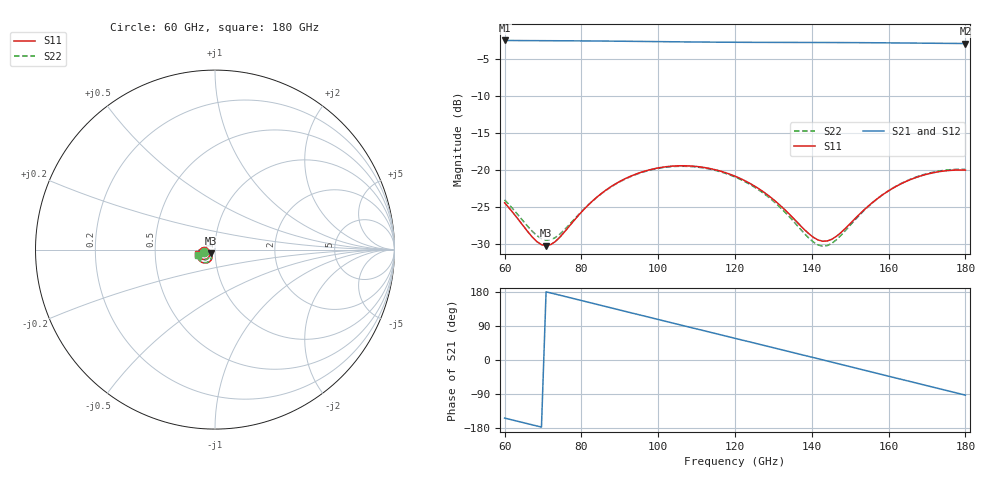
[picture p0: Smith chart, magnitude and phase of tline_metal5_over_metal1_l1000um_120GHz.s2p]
#  GHZ S DB R 50
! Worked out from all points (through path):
!   101 points, 60 GHz to 180 GHz, reference 50 ohm
!   highest |S21| = -2.50 dB at 60 GHz (marker M1); lowest = -2.9 dB at 180 GHz (marker M2)
!   group delay of S21, straight-line fit = 6.93 ps
!   lowest |S11| = -30.3 dB at 70.8 GHz (marker M3), VSWR 1.06, Z = 47.7 - j1.88 ohm
!   |S11| at or under -10 dB: start of sweep to end of sweep
!   |S22| runs from -30.3 to -19.5 dB; largest |S21 - S12| = 8.4e-14
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60  -24.47 -170.8  -2.50 -153.3  -2.50 -153.3  -24.07 -169.8
67.2  -29.10 -160.0  -2.52 -171.1  -2.52 -171.1  -28.33 -160.5
70.8  -30.28 -139.9  -2.53 179.9  -2.53 179.9  -29.51 -143.2
74.4  -29.12 -120.4  -2.54 171.0  -2.54 171.0  -28.70 -125.1
80.4  -25.51 -109.8  -2.56 156.0  -2.56 156.0  -25.46 -113.5
85.2  -23.21 -112.6  -2.58 143.9  -2.58 143.9  -23.24 -115.4
90  -21.58 -119.3  -2.60 131.9  -2.60 131.9  -21.63 -121.6
96  -20.26 -130.0  -2.63 116.9  -2.63 116.9  -20.32 -131.8
100.8  -19.68 -139.4  -2.66 104.9  -2.66 104.9  -19.74 -141.0
105.6  -19.46 -148.9  -2.69 93.0  -2.69 93.0  -19.53 -150.3
110.4  -19.58 -158.3  -2.71 81.1  -2.71 81.1  -19.65 -159.7
120  -20.87 -175.8  -2.74 57.2  -2.74 57.2  -20.98 -177.1
126  -22.50 175.7  -2.76 42.3  -2.76 42.3  -22.66 174.2
130.8  -24.37 171.9  -2.76 30.4  -2.76 30.4  -24.62 170.4
140.4  -29.14 -172.6  -2.77 6.4  -2.77 6.4  -29.78 -172.6
142.8  -29.67 -161.0  -2.78 0.4  -2.78 0.4  -30.34 -159.6
145.2  -29.41 -148.9  -2.78 -5.6  -2.78 -5.6  -29.96 -146.1
152.4  -26.03 -130.3  -2.80 -23.7  -2.80 -23.7  -26.15 -127.0
160.8  -22.59 -133.7  -2.83 -44.7  -2.83 -44.7  -22.56 -131.2
170.4  -20.54 -147.8  -2.87 -68.7  -2.87 -68.7  -20.47 -145.6
175.2  -20.12 -156.1  -2.89 -80.7  -2.89 -80.7  -20.03 -153.9
180  -20.05 -164.6  -2.91 -92.7  -2.91 -92.7  -19.94 -162.3
